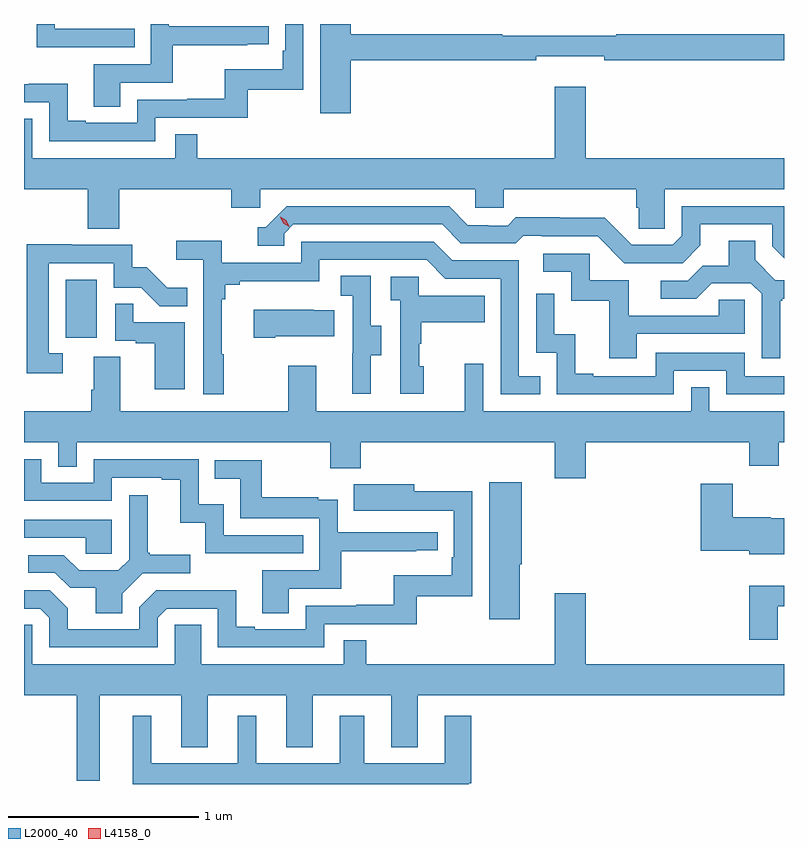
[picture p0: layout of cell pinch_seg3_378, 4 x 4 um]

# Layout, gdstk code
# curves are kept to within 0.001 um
import gdstk
lib = gdstk.Library(unit=1e-6, precision=1e-09)
def R(c, l, rs):  # rectangles x0, y0, x1, y1
    for r in rs: c.add(gdstk.rectangle(r[:2], r[2:], *l))
def P(c, l, *ps):  # polygons
    for p in ps: c.add(gdstk.Polygon(p, *l))
L2000_40 = (2000, 40)
L4158_0 = (4158, 0)

pinch_seg3_378 = lib.new_cell('pinch_seg3_378')
R(pinch_seg3_378, L2000_40, [(1001.594,686.814,1001.758,687.121)])
P(pinch_seg3_378, L2000_40, [(1001.881,688.158),(1002.158,688.158),(1002.158,688.354),(1002.551,688.354),(1002.551,688.359),(1002.664,688.359),(1002.664,688.455),(1002.138,688.455),(1002.138,688.466),(1002.042,688.466),(1002.042,688.254),(1001.741,688.254),(1001.741,688.03),(1001.881,688.03)],
  [(1002.066,687.972),(1002.553,687.972),(1002.553,688.119),(1002.846,688.119),(1002.846,688.466),(1002.75,688.466),(1002.75,688.324),(1002.737,688.324),(1002.737,688.228),(1002.432,688.228),(1002.432,688.073),(1002.235,688.073),(1002.235,688.068),(1001.97,688.068),(1001.97,687.945),(1001.701,687.945),(1001.701,687.958),(1001.605,687.958),(1001.605,688.151),(1001.4,688.151),(1001.4,688.149),(1001.375,688.149),(1001.375,688.053),(1001.508,688.053),(1001.508,687.849),(1002.066,687.849)],
  [(1001.957,688.44),(1001.538,688.44),(1001.538,688.466),(1001.442,688.466),(1001.442,688.344),(1001.957,688.344)],
  [(1003.096,688.276),(1004.072,688.276),(1004.072,688.295),(1004.428,688.295),(1004.428,688.276),(1005.375,688.276),(1005.375,688.412),(1004.492,688.412),(1004.492,688.405),(1003.892,688.405),(1003.892,688.412),(1003.096,688.412),(1003.096,688.466),(1002.935,688.466),(1002.935,687.996),(1003.096,687.996)],
  [(1001.876,687.596),(1002.467,687.596),(1002.467,687.498),(1002.618,687.498),(1002.618,687.596),(1003.749,687.596),(1003.749,687.498),(1003.899,687.498),(1003.899,687.596),(1004.597,687.596),(1004.597,687.498),(1004.611,687.498),(1004.611,687.388),(1004.748,687.388),(1004.748,687.596),(1005.375,687.596),(1005.375,687.76),(1004.332,687.76),(1004.332,688.135),(1004.168,688.135),(1004.168,687.76),(1002.287,687.76),(1002.287,687.887),(1002.171,687.887),(1002.171,687.76),(1001.419,687.76),(1001.419,687.968),(1001.375,687.968),(1001.375,687.596),(1001.711,687.596),(1001.711,687.388),(1001.876,687.388)],
  [(1004.935,687.301),(1004.935,687.411),(1005.312,687.411),(1005.312,687.297),(1005.375,687.234),(1005.375,687.507),(1004.838,687.507),(1004.838,687.351),(1004.79,687.303),(1004.574,687.303),(1004.432,687.445),(1004.196,687.445),(1004.196,687.448),(1003.963,687.448),(1003.921,687.405),(1003.818,687.405),(1003.818,687.408),(1003.711,687.408),(1003.612,687.507),(1002.759,687.507),(1002.648,687.396),(1002.605,687.396),(1002.605,687.3),(1002.744,687.3),(1002.744,687.363),(1002.792,687.411),(1003.575,687.411),(1003.674,687.312),(1003.963,687.312),(1004.002,687.351),(1004.101,687.351),(1004.101,687.348),(1004.394,687.348),(1004.535,687.207),(1004.841,687.207)],
  [(1005.355,687.009),(1005.367,687.009),(1005.367,687.02),(1005.375,687.02),(1005.375,687.117),(1005.33,687.117),(1005.223,687.224),(1005.223,687.326),(1005.083,687.326),(1005.083,687.194),(1004.948,687.194),(1004.868,687.114),(1004.727,687.114),(1004.727,687.021),(1004.914,687.021),(1004.995,687.102),(1005.201,687.102),(1005.258,687.045),(1005.258,686.706),(1005.355,686.706)],
  [(1002.427,686.729),(1002.415,686.729),(1002.415,687.017),(1002.434,687.017),(1002.434,687.094),(1002.511,687.094),(1002.511,687.113),(1002.93,687.113),(1002.93,687.225),(1003.494,687.225),(1003.593,687.126),(1003.884,687.126),(1003.884,686.517),(1004.093,686.517),(1004.093,686.613),(1003.98,686.613),(1003.98,687.222),(1003.63,687.222),(1003.531,687.321),(1002.834,687.321),(1002.834,687.21),(1002.416,687.21),(1002.416,687.326),(1002.177,687.326),(1002.177,687.224),(1002.318,687.224),(1002.318,686.517),(1002.427,686.517)],
  [(1001.578,686.733),(1001.505,686.733),(1001.505,687.207),(1001.847,687.207),(1001.847,687.078),(1001.991,687.078),(1002.089,686.98),(1002.233,686.98),(1002.233,687.079),(1002.129,687.079),(1002.022,687.186),(1001.946,687.186),(1001.946,687.303),(1001.627,687.303),(1001.627,687.308),(1001.389,687.308),(1001.389,686.628),(1001.578,686.628)],
  [(1004.599,686.835),(1005.168,686.835),(1005.168,687.015),(1005.031,687.015),(1005.031,686.931),(1004.557,686.931),(1004.557,687.117),(1004.352,687.117),(1004.352,687.258),(1004.109,687.258),(1004.109,687.162),(1004.256,687.162),(1004.256,687.009),(1004.455,687.009),(1004.455,686.706),(1004.599,686.706)],
  [(1003.201,686.722),(1003.255,686.722),(1003.255,686.877),(1003.2,686.877),(1003.2,687.14),(1003.041,687.14),(1003.041,687.037),(1003.104,687.037),(1003.104,686.733),(1003.103,686.733),(1003.103,686.52),(1003.201,686.52)],
  [(1003.48,686.664),(1003.455,686.664),(1003.455,686.783),(1003.465,686.783),(1003.465,686.897),(1003.799,686.897),(1003.799,687.037),(1003.452,687.037),(1003.452,687.135),(1003.305,687.135),(1003.305,687.011),(1003.356,687.011),(1003.356,686.52),(1003.48,686.52)],
  [(1004.796,686.64),(1005.072,686.64),(1005.072,686.517),(1005.375,686.517),(1005.375,686.613),(1005.168,686.613),(1005.168,686.736),(1004.7,686.736),(1004.7,686.613),(1004.371,686.613),(1004.371,686.626),(1004.276,686.626),(1004.276,686.834),(1004.166,686.834),(1004.166,687.046),(1004.07,687.046),(1004.07,686.736),(1004.178,686.736),(1004.178,686.517),(1004.796,686.517)],
  [(1002.22,686.895),(1001.951,686.895),(1001.951,686.993),(1001.856,686.993),(1001.856,686.799),(1001.963,686.799),(1001.963,686.787),(1002.062,686.787),(1002.062,686.544),(1002.22,686.544)],
  [(1002.697,686.822),(1003.007,686.822),(1003.007,686.959),(1002.899,686.959),(1002.899,686.962),(1002.585,686.962),(1002.585,686.815),(1002.697,686.815)],
  [(1004.332,686.264),(1005.191,686.264),(1005.191,686.14),(1005.347,686.14),(1005.347,686.264),(1005.375,686.264),(1005.375,686.428),(1004.982,686.428),(1004.982,686.555),(1004.886,686.555),(1004.886,686.428),(1003.791,686.428),(1003.791,686.677),(1003.694,686.677),(1003.694,686.428),(1002.913,686.428),(1002.913,686.668),(1002.766,686.668),(1002.766,686.428),(1001.881,686.428),(1001.881,686.714),(1001.741,686.714),(1001.741,686.54),(1001.729,686.54),(1001.729,686.428),(1001.375,686.428),(1001.375,686.264),(1001.556,686.264),(1001.556,686.137),(1001.652,686.137),(1001.652,686.264),(1002.988,686.264),(1002.988,686.129),(1003.148,686.129),(1003.148,686.264),(1004.168,686.264),(1004.168,686.076),(1004.332,686.076)],
  [(1002.845,685.776),(1002.426,685.776),(1002.426,685.939),(1002.294,685.939),(1002.294,686.175),(1001.742,686.175),(1001.742,686.052),(1001.466,686.052),(1001.466,686.175),(1001.375,686.175),(1001.375,685.956),(1001.838,685.956),(1001.838,686.079),(1002.101,686.079),(1002.101,686.067),(1002.197,686.067),(1002.197,685.841),(1002.33,685.841),(1002.33,685.68),(1002.845,685.68)],
  [(1002.769,685.494),(1003.046,685.494),(1003.046,685.69),(1003.439,685.69),(1003.439,685.695),(1003.552,685.695),(1003.552,685.791),(1003.026,685.791),(1003.026,685.963),(1002.923,685.963),(1002.923,685.975),(1002.625,685.975),(1002.625,686.169),(1002.379,686.169),(1002.379,686.072),(1002.514,686.072),(1002.514,685.866),(1002.93,685.866),(1002.93,685.59),(1002.629,685.59),(1002.629,685.366),(1002.769,685.366)],
  [(1003.984,685.623),(1003.996,685.623),(1003.996,686.053),(1003.823,686.053),(1003.823,685.332),(1003.984,685.332)],
  [(1005.375,685.864),(1005.306,685.864),(1005.306,685.87),(1005.106,685.87),(1005.106,686.047),(1004.936,686.047),(1004.936,685.694),(1005.192,685.694),(1005.192,685.676),(1005.375,685.676)],
  [(1002.078,685.341),(1002.126,685.389),(1002.396,685.389),(1002.396,685.185),(1002.954,685.185),(1002.954,685.308),(1003.441,685.308),(1003.441,685.455),(1003.734,685.455),(1003.734,686.006),(1003.429,686.006),(1003.429,686.044),(1003.111,686.044),(1003.111,685.904),(1003.638,685.905),(1003.638,685.66),(1003.625,685.66),(1003.625,685.564),(1003.32,685.564),(1003.32,685.409),(1003.123,685.409),(1003.123,685.404),(1002.858,685.404),(1002.858,685.281),(1002.589,685.281),(1002.589,685.294),(1002.493,685.294),(1002.493,685.487),(1002.288,685.487),(1002.288,685.485),(1002.072,685.485),(1001.982,685.395),(1001.982,685.281),(1001.605,685.281),(1001.605,685.391),(1001.511,685.485),(1001.375,685.485),(1001.375,685.389),(1001.46,685.389),(1001.508,685.341),(1001.508,685.185),(1002.078,685.185)],
  [(1001.893,685.468),(1002,685.575),(1002.25,685.575),(1002.25,685.672),(1002.037,685.672),(1002.037,685.684),(1002.025,685.684),(1002.025,685.987),(1001.928,685.987),(1001.928,685.647),(1001.871,685.59),(1001.665,685.59),(1001.584,685.671),(1001.397,685.671),(1001.397,685.578),(1001.538,685.578),(1001.618,685.498),(1001.753,685.498),(1001.753,685.366),(1001.893,685.366)],
  [(1001.838,685.857),(1001.375,685.857),(1001.375,685.761),(1001.701,685.761),(1001.701,685.677),(1001.838,685.677)],
  [(1005.343,685.401),(1005.375,685.401),(1005.375,685.51),(1005.191,685.51),(1005.191,685.224),(1005.343,685.224)],
  [(1001.773,684.932),(1002.203,684.932),(1002.203,684.659),(1002.343,684.659),(1002.343,684.932),(1002.755,684.932),(1002.755,684.659),(1002.895,684.659),(1002.895,684.932),(1003.307,684.932),(1003.307,684.659),(1003.447,684.659),(1003.447,684.932),(1005.375,684.932),(1005.375,685.096),(1004.332,685.096),(1004.332,685.471),(1004.168,685.471),(1004.168,685.096),(1003.175,685.096),(1003.175,685.223),(1003.059,685.223),(1003.059,685.096),(1002.307,685.096),(1002.307,685.304),(1002.168,685.304),(1002.168,685.096),(1001.418,685.096),(1001.418,685.304),(1001.375,685.304),(1001.375,684.932),(1001.652,684.932),(1001.652,684.483),(1001.773,684.483)],
  [(1003.717,684.47),(1003.73,684.47),(1003.73,684.826),(1003.589,684.826),(1003.589,684.574),(1003.165,684.574),(1003.165,684.826),(1003.037,684.826),(1003.037,684.574),(1002.598,684.574),(1002.598,684.826),(1002.5,684.826),(1002.5,684.574),(1002.046,684.574),(1002.046,684.826),(1001.948,684.826),(1001.948,684.466),(1003.717,684.466)])
P(pinch_seg3_378, L4158_0, [(1002.77,687.399),(1002.739,687.418),(1002.723,687.451),(1002.723,687.451),(1002.723,687.451),(1002.754,687.432),(1002.77,687.399),(1002.77,687.399)])

lib.write_gds('pinch_seg3_378.gds')
